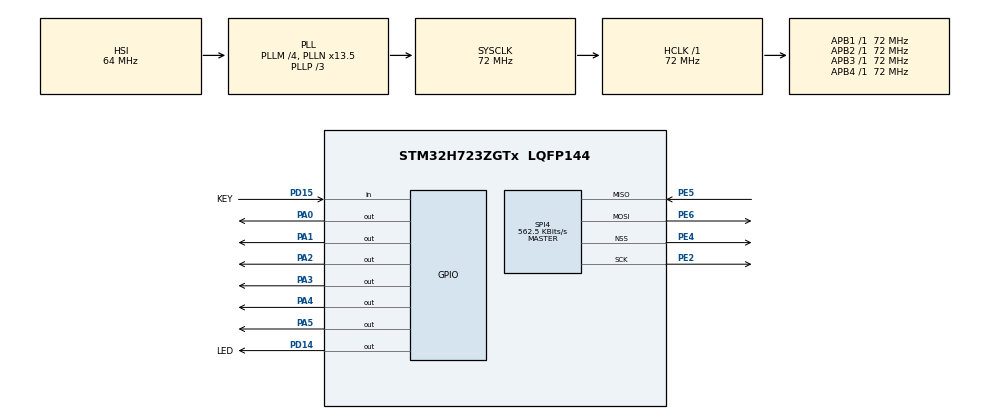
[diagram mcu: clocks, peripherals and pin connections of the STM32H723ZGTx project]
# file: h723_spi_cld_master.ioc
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Mcu.Family=STM32H7
Mcu.Name=STM32H723ZGTx
Mcu.Package=LQFP144
NVIC.PriorityGroup=NVIC_PRIORITYGROUP_4
NVIC.SPI4_IRQn=true\:0\:0\:false\:false\:true\:true\:true\:true
PA0.Signal=GPIO_Output
PA1.Signal=GPIO_Output
PA2.Signal=GPIO_Output
PA3.Signal=GPIO_Output
PA4.Signal=GPIO_Output
PA5.Signal=GPIO_Output
PD14.GPIO_Label=LED
PD14.Signal=GPIO_Output
PD15.GPIO_Label=KEY
PD15.Signal=GPIO_Input
PE2.Mode=Full_Duplex_Master
PE2.Signal=SPI4_SCK
PE4.Mode=NSS_Signal_Hard_Output
PE4.Signal=SPI4_NSS
PE5.Mode=Full_Duplex_Master
PE5.Signal=SPI4_MISO
PE6.Mode=Full_Duplex_Master
PE6.Signal=SPI4_MOSI
PH0-OSC_IN.Mode=HSE-External-Oscillator
PH0-OSC_IN.Signal=RCC_OSC_IN
PH1-OSC_OUT.Mode=HSE-External-Oscillator
PH1-OSC_OUT.Signal=RCC_OSC_OUT
ProjectManager.HeapSize=0x200
ProjectManager.StackSize=0x400
ProjectManager.TargetToolchain=STM32CubeIDE
RCC.ADCFreq_Value=129000000
RCC.APB1Freq_Value=72000000
RCC.APB2Freq_Value=72000000
RCC.APB3Freq_Value=72000000
RCC.APB4Freq_Value=72000000
RCC.CortexFreq_Value=72000000
RCC.DIVM1=4
RCC.DIVN1=13
RCC.DIVP1=3
RCC.HCLKFreq_Value=72000000
RCC.PLL2FRACN=0
RCC.PLL3FRACN=0
RCC.PLLFRACN=4096
RCC.SYSCLKFreq_VALUE=72000000
RCC.SYSCLKSource=RCC_SYSCLKSOURCE_PLLCLK
RCC.USBFreq_Value=108000000
SPI4.BaudRatePrescaler=SPI_BAUDRATEPRESCALER_128
SPI4.CalculateBaudRate=562.5 KBits/s
SPI4.DataSize=SPI_DATASIZE_8BIT
SPI4.Direction=SPI_DIRECTION_2LINES
SPI4.Mode=SPI_MODE_MASTER
SPI4.VirtualNSS=VM_NSSHARD
SPI4.VirtualType=VM_MASTER
VP_MEMORYMAP_VS_MEMORYMAP.Mode=CurAppReg
board=custom

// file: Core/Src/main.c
/* USER CODE BEGIN Header */
/**
 ******************************************************************************
 * @file           : main.c
 * @brief          : Main program body
 ******************************************************************************
 * @attention
 *
 * Copyright (c) 2024 STMicroelectronics.
 * All rights reserved.
 *
 * This software is licensed under terms that can be found in the LICENSE file
 * in the root directory of this software component.
 * If no LICENSE file comes with this software, it is provided AS-IS.
 *
 ******************************************************************************
 */
/* USER CODE END Header */
#include "main.h"

/* USER CODE BEGIN Includes */
#include "lcd.h"
#include "string.h"
#include "stdio.h"
/* USER CODE END Includes */

SPI_HandleTypeDef hspi4;

void SystemClock_Config(void);
static void MX_GPIO_Init(void);
static void MX_SPI4_Init(void);

/* USER CODE BEGIN 0 */
#define DATA_SIZE 10
uint8_t txData[DATA_SIZE]={0x4E,0x4F,0x4E};
uint8_t rxData[DATA_SIZE];
char buffer[16];

//static uint8_t dataSent = 0;  // ตัวแปรเพื่อเช็คว่าได้ส่งข้อมูลไปแล้วหรือยัง

/* USER CODE END 0 */

int main(void)
{

	/* MCU Configuration--------------------------------------------------------*/

	/* Reset of all peripherals, Initializes the Flash interface and the Systick. */

	HAL_Init();

	/* Configure the system clock */
	SystemClock_Config();

	/* Initialize all configured peripherals */
	MX_GPIO_Init();
	MX_SPI4_Init();
	/* USER CODE BEGIN 2 */
	lcd_init();
	lcd_clear();

	//HAL_SPI_Receive(&hspi4, rxData, sizeof(rxData),100);
	/* USER CODE END 2 */

	/* Infinite loop */
	/* USER CODE BEGIN WHILE */
	while (1)
	{
		HAL_SPI_TransmitReceive(&hspi4, txData, rxData, sizeof(rxData), HAL_MAX_DELAY);
		//HAL_Delay(2000);
		if (HAL_GPIO_ReadPin(KEY_GPIO_Port, KEY_Pin) == GPIO_PIN_RESET) // ถ้าปุ่มถูกกด
		{
			HAL_GPIO_WritePin(LED_GPIO_Port, LED_Pin, GPIO_PIN_SET); // เปิด LED
			lcd_clear();
			lcd_set_cursor(0, 0);
			lcd_send_string((char*)&txData);

			// แปลงข้อมูลจาก rxData เป็น char และใส่ลงใน buffer
			for (int i = 0; i < sizeof(rxData); i++) {
				buffer[i] = (char)rxData[i];
			}
			buffer[sizeof(rxData)] = '\0'; // ใส่ null terminator
			lcd_set_cursor(1, 0);
			lcd_send_string(buffer);
			HAL_Delay(50);
		}
		else
		{
			HAL_GPIO_WritePin(LED_GPIO_Port, LED_Pin, GPIO_PIN_RESET); // ปิด LED
		}

		HAL_Delay(100);
		/* USER CODE END WHILE */

	}
}

void SystemClock_Config(void)
{
	RCC_OscInitTypeDef RCC_OscInitStruct = {0};
	RCC_ClkInitTypeDef RCC_ClkInitStruct = {0};

	/** Supply configuration update enable
	 */
	HAL_PWREx_ConfigSupply(PWR_LDO_SUPPLY);

	/** Configure the main internal regulator output voltage
	 */
	__HAL_PWR_VOLTAGESCALING_CONFIG(PWR_REGULATOR_VOLTAGE_SCALE3);

	while(!__HAL_PWR_GET_FLAG(PWR_FLAG_VOSRDY)) {}

	/** Initializes the RCC Oscillators according to the specified parameters
	 * in the RCC_OscInitTypeDef structure.
	 */
	RCC_OscInitStruct.OscillatorType = RCC_OSCILLATORTYPE_HSI;
	RCC_OscInitStruct.HSIState = RCC_HSI_DIV1;
	RCC_OscInitStruct.HSICalibrationValue = 64;
	RCC_OscInitStruct.PLL.PLLState = RCC_PLL_ON;
	RCC_OscInitStruct.PLL.PLLSource = RCC_PLLSOURCE_HSI;
	RCC_OscInitStruct.PLL.PLLM = 4;
	RCC_OscInitStruct.PLL.PLLN = 13;
	RCC_OscInitStruct.PLL.PLLP = 3;
	RCC_OscInitStruct.PLL.PLLQ = 2;
	RCC_OscInitStruct.PLL.PLLR = 2;
	RCC_OscInitStruct.PLL.PLLRGE = RCC_PLL1VCIRANGE_3;
	RCC_OscInitStruct.PLL.PLLVCOSEL = RCC_PLL1VCOWIDE;
	RCC_OscInitStruct.PLL.PLLFRACN = 4096;
	if (HAL_RCC_OscConfig(&RCC_OscInitStruct) != HAL_OK)
	{
		Error_Handler();
	}

	/** Initializes the CPU, AHB and APB buses clocks
	 */
	RCC_ClkInitStruct.ClockType = RCC_CLOCKTYPE_HCLK|RCC_CLOCKTYPE_SYSCLK
			|RCC_CLOCKTYPE_PCLK1|RCC_CLOCKTYPE_PCLK2
			|RCC_CLOCKTYPE_D3PCLK1|RCC_CLOCKTYPE_D1PCLK1;
	RCC_ClkInitStruct.SYSCLKSource = RCC_SYSCLKSOURCE_PLLCLK;
	RCC_ClkInitStruct.SYSCLKDivider = RCC_SYSCLK_DIV1;
	RCC_ClkInitStruct.AHBCLKDivider = RCC_HCLK_DIV1;
	RCC_ClkInitStruct.APB3CLKDivider = RCC_APB3_DIV1;
	RCC_ClkInitStruct.APB1CLKDivider = RCC_APB1_DIV1;
	RCC_ClkInitStruct.APB2CLKDivider = RCC_APB2_DIV1;
	RCC_ClkInitStruct.APB4CLKDivider = RCC_APB4_DIV1;

	if (HAL_RCC_ClockConfig(&RCC_ClkInitStruct, FLASH_LATENCY_2) != HAL_OK)
	{
		Error_Handler();
	}
}

static void MX_SPI4_Init(void)
{

	/* SPI4 parameter configuration*/
	hspi4.Instance = SPI4;
	hspi4.Init.Mode = SPI_MODE_MASTER;
	hspi4.Init.Direction = SPI_DIRECTION_2LINES;
	hspi4.Init.DataSize = SPI_DATASIZE_8BIT;
	hspi4.Init.CLKPolarity = SPI_POLARITY_LOW;
	hspi4.Init.CLKPhase = SPI_PHASE_1EDGE;
	hspi4.Init.NSS = SPI_NSS_HARD_OUTPUT;
	hspi4.Init.BaudRatePrescaler = SPI_BAUDRATEPRESCALER_128;
	hspi4.Init.FirstBit = SPI_FIRSTBIT_MSB;
	hspi4.Init.TIMode = SPI_TIMODE_DISABLE;
	hspi4.Init.CRCCalculation = SPI_CRCCALCULATION_DISABLE;
	hspi4.Init.CRCPolynomial = 0x0;
	hspi4.Init.NSSPMode = SPI_NSS_PULSE_ENABLE;
	hspi4.Init.NSSPolarity = SPI_NSS_POLARITY_LOW;
	hspi4.Init.FifoThreshold = SPI_FIFO_THRESHOLD_01DATA;
	hspi4.Init.TxCRCInitializationPattern = SPI_CRC_INITIALIZATION_ALL_ZERO_PATTERN;
	hspi4.Init.RxCRCInitializationPattern = SPI_CRC_INITIALIZATION_ALL_ZERO_PATTERN;
	hspi4.Init.MasterSSIdleness = SPI_MASTER_SS_IDLENESS_00CYCLE;
	hspi4.Init.MasterInterDataIdleness = SPI_MASTER_INTERDATA_IDLENESS_00CYCLE;
	hspi4.Init.MasterReceiverAutoSusp = SPI_MASTER_RX_AUTOSUSP_DISABLE;
	hspi4.Init.MasterKeepIOState = SPI_MASTER_KEEP_IO_STATE_DISABLE;
	hspi4.Init.IOSwap = SPI_IO_SWAP_DISABLE;
	if (HAL_SPI_Init(&hspi4) != HAL_OK)
	{
		Error_Handler();
	}
	/* USER CODE BEGIN SPI4_Init 2 */
	HAL_NVIC_SetPriority(SPI4_IRQn, 0, 0);
	HAL_NVIC_EnableIRQ(SPI4_IRQn);
	/* USER CODE END SPI4_Init 2 */

}

static void MX_GPIO_Init(void)
{
	GPIO_InitTypeDef GPIO_InitStruct = {0};

	/* GPIO Ports Clock Enable */
	__HAL_RCC_GPIOE_CLK_ENABLE();
	__HAL_RCC_GPIOH_CLK_ENABLE();
	__HAL_RCC_GPIOA_CLK_ENABLE();
	__HAL_RCC_GPIOD_CLK_ENABLE();

	/*Configure GPIO pin Output Level */
	HAL_GPIO_WritePin(GPIOA, GPIO_PIN_0|GPIO_PIN_1|GPIO_PIN_2|GPIO_PIN_3
			|GPIO_PIN_4|GPIO_PIN_5, GPIO_PIN_RESET);

	/*Configure GPIO pin Output Level */
	HAL_GPIO_WritePin(LED_GPIO_Port, LED_Pin, GPIO_PIN_RESET);

	/*Configure GPIO pins : PA0 PA1 PA2 PA3
                           PA4 PA5 */
	GPIO_InitStruct.Pin = GPIO_PIN_0|GPIO_PIN_1|GPIO_PIN_2|GPIO_PIN_3
			|GPIO_PIN_4|GPIO_PIN_5;
	GPIO_InitStruct.Mode = GPIO_MODE_OUTPUT_PP;
	GPIO_InitStruct.Pull = GPIO_NOPULL;
	GPIO_InitStruct.Speed = GPIO_SPEED_FREQ_LOW;
	HAL_GPIO_Init(GPIOA, &GPIO_InitStruct);

	/*Configure GPIO pin : LED_Pin */
	GPIO_InitStruct.Pin = LED_Pin;
	GPIO_InitStruct.Mode = GPIO_MODE_OUTPUT_PP;
	GPIO_InitStruct.Pull = GPIO_NOPULL;
	GPIO_InitStruct.Speed = GPIO_SPEED_FREQ_LOW;
	HAL_GPIO_Init(LED_GPIO_Port, &GPIO_InitStruct);

	/*Configure GPIO pin : KEY_Pin */
	GPIO_InitStruct.Pin = KEY_Pin;
	GPIO_InitStruct.Mode = GPIO_MODE_INPUT;
	GPIO_InitStruct.Pull = GPIO_NOPULL;
	HAL_GPIO_Init(KEY_GPIO_Port, &GPIO_InitStruct);

}

void Error_Handler(void)
{
	__disable_irq();
	while (1)
	{
	}
}
